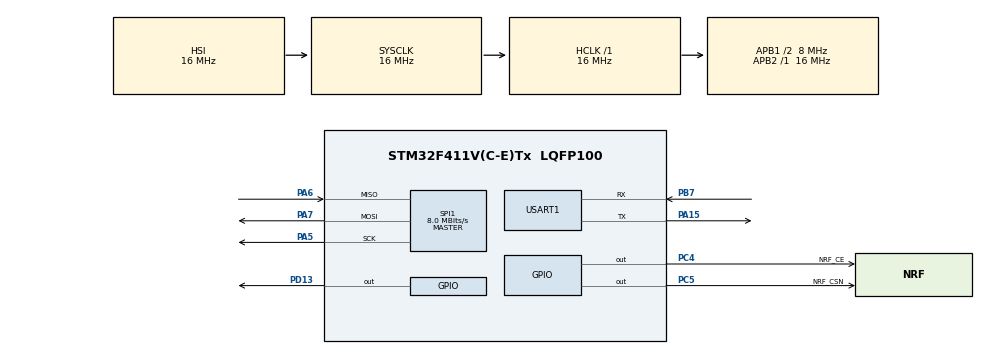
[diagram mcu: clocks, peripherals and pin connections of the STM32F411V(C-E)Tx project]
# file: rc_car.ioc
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Mcu.Family=STM32F4
Mcu.Name=STM32F411V(C-E)Tx
Mcu.Package=LQFP100
NVIC.PriorityGroup=NVIC_PRIORITYGROUP_0
PA13.Mode=Trace_Asynchronous_SW
PA13.Signal=SYS_JTMS-SWDIO
PA14.Mode=Trace_Asynchronous_SW
PA14.Signal=SYS_JTCK-SWCLK
PA15.Mode=Asynchronous
PA15.Signal=USART1_TX
PA5.Mode=Full_Duplex_Master
PA5.Signal=SPI1_SCK
PA6.Mode=Full_Duplex_Master
PA6.Signal=SPI1_MISO
PA7.Mode=Full_Duplex_Master
PA7.Signal=SPI1_MOSI
PB3.Mode=Trace_Asynchronous_SW
PB3.Signal=SYS_JTDO-SWO
PB7.Mode=Asynchronous
PB7.Signal=USART1_RX
PC4.GPIO_Label=NRF_CE
PC4.Signal=GPIO_Output
PC5.GPIO_Label=NRF_CSN
PC5.Signal=GPIO_Output
PD13.Signal=GPIO_Output
ProjectManager.HeapSize=0x200
ProjectManager.StackSize=0x400
ProjectManager.TargetToolchain=STM32CubeIDE
RCC.48MHZClocksFreq_Value=25000000
RCC.AHBFreq_Value=16000000
RCC.APB1CLKDivider=RCC_HCLK_DIV2
RCC.APB1Freq_Value=8000000
RCC.APB1TimFreq_Value=16000000
RCC.APB2Freq_Value=16000000
RCC.APB2TimFreq_Value=16000000
RCC.CortexFreq_Value=16000000
RCC.HCLKFreq_Value=16000000
RCC.HSE_VALUE=8000000
RCC.HSI_VALUE=16000000
RCC.LSE_VALUE=32768
RCC.PLLI2SM=5
RCC.PLLI2SN=200
RCC.PLLM=8
RCC.PLLN=100
RCC.PLLQ=8
RCC.SYSCLKFreq_VALUE=16000000
RCC.VCOOutputFreq_Value=200000000
SPI1.BaudRatePrescaler=SPI_BAUDRATEPRESCALER_2
SPI1.CalculateBaudRate=8.0 MBits/s
SPI1.Direction=SPI_DIRECTION_2LINES
SPI1.Mode=SPI_MODE_MASTER
SPI1.VirtualType=VM_MASTER
USART1.VirtualMode=VM_ASYNC
board=STM32F411E-DISCO

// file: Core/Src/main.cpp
/* USER CODE BEGIN Header */
/**
  ******************************************************************************
  * @file           : main.c
  * @brief          : Main program body
  ******************************************************************************
  * @attention
  *
  * Copyright (c) 2024 STMicroelectronics.
  * All rights reserved.
  *
  * This software is licensed under terms that can be found in the LICENSE file
  * in the root directory of this software component.
  * If no LICENSE file comes with this software, it is provided AS-IS.
  *
  ******************************************************************************
  */
/* USER CODE END Header */
#include "main.h"

/* USER CODE BEGIN Includes */
#include <memory>
#include <iostream>
#include <cstring>
#include "NRF24L01/NRF24L01.c"

/* USER CODE END Includes */

SPI_HandleTypeDef hspi1;

UART_HandleTypeDef huart1;

/* USER CODE BEGIN PV */
std::shared_ptr<bool> bool_var = std::make_shared<bool>(false);

struct PayloadStruct {
    unsigned long nodeID;
    unsigned long payloadID;
}
__attribute__((packed));
PayloadStruct payload;

/* USER CODE END PV */

void SystemClock_Config(void);

static void MX_GPIO_Init(void);

static void MX_SPI1_Init(void);

static void MX_USART1_UART_Init(void);

/* USER CODE BEGIN 0 */
void toggleLed() {
    if (*bool_var) {
        HAL_GPIO_WritePin(GPIOD, GPIO_PIN_13, GPIO_PIN_SET);
        *bool_var = false;
    } else {
        HAL_GPIO_WritePin(GPIOD, GPIO_PIN_13, GPIO_PIN_RESET);
        *bool_var = true;
    }
}

void nrf24Setup() {
    NRF24_Init();
    uint8_t nRF24_ADDR[] = {0xB3, 0xB4, 0xB5, 0xB6, 0x05};
}

void nrf24Run() {

    payload.nodeID = 1;
    payload.payloadID++;
    // Transmit a packet

}

/* USER CODE END 0 */

int main(void) {

    /* MCU Configuration--------------------------------------------------------*/

    /* Reset of all peripherals, Initializes the Flash interface and the Systick. */
    HAL_Init();

    /* Configure the system clock */
    SystemClock_Config();

    /* Initialize all configured peripherals */
    MX_GPIO_Init();
    MX_SPI1_Init();
    MX_USART1_UART_Init();
    /* USER CODE BEGIN 2 */

    nrf24Setup();

    /* USER CODE END 2 */

    /* Infinite loop */
    /* USER CODE BEGIN WHILE */
    while (1) {
        toggleLed();
        nrf24Run();
        /* USER CODE END WHILE */

        /* USER CODE BEGIN 3 */
        HAL_Delay(1000);
    }
    /* USER CODE END 3 */
}

void SystemClock_Config(void) {
    RCC_OscInitTypeDef RCC_OscInitStruct = {0};
    RCC_ClkInitTypeDef RCC_ClkInitStruct = {0};

    /** Configure the main internal regulator output voltage
    */
    __HAL_RCC_PWR_CLK_ENABLE();
    __HAL_PWR_VOLTAGESCALING_CONFIG(PWR_REGULATOR_VOLTAGE_SCALE1);

    /** Initializes the RCC Oscillators according to the specified parameters
    * in the RCC_OscInitTypeDef structure.
    */
    RCC_OscInitStruct.OscillatorType = RCC_OSCILLATORTYPE_HSI;
    RCC_OscInitStruct.HSIState = RCC_HSI_ON;
    RCC_OscInitStruct.HSICalibrationValue = RCC_HSICALIBRATION_DEFAULT;
    RCC_OscInitStruct.PLL.PLLState = RCC_PLL_NONE;
    if (HAL_RCC_OscConfig(&RCC_OscInitStruct) != HAL_OK) {
        Error_Handler();
    }

    /** Initializes the CPU, AHB and APB buses clocks
    */
    RCC_ClkInitStruct.ClockType = RCC_CLOCKTYPE_HCLK | RCC_CLOCKTYPE_SYSCLK
                                  | RCC_CLOCKTYPE_PCLK1 | RCC_CLOCKTYPE_PCLK2;
    RCC_ClkInitStruct.SYSCLKSource = RCC_SYSCLKSOURCE_HSI;
    RCC_ClkInitStruct.AHBCLKDivider = RCC_SYSCLK_DIV1;
    RCC_ClkInitStruct.APB1CLKDivider = RCC_HCLK_DIV2;
    RCC_ClkInitStruct.APB2CLKDivider = RCC_HCLK_DIV1;

    if (HAL_RCC_ClockConfig(&RCC_ClkInitStruct, FLASH_LATENCY_0) != HAL_OK) {
        Error_Handler();
    }
}

static void MX_SPI1_Init(void) {

    /* SPI1 parameter configuration*/
    hspi1.Instance = SPI1;
    hspi1.Init.Mode = SPI_MODE_MASTER;
    hspi1.Init.Direction = SPI_DIRECTION_2LINES;
    hspi1.Init.DataSize = SPI_DATASIZE_8BIT;
    hspi1.Init.CLKPolarity = SPI_POLARITY_LOW;
    hspi1.Init.CLKPhase = SPI_PHASE_1EDGE;
    hspi1.Init.NSS = SPI_NSS_SOFT;
    hspi1.Init.BaudRatePrescaler = SPI_BAUDRATEPRESCALER_4;
    hspi1.Init.FirstBit = SPI_FIRSTBIT_MSB;
    hspi1.Init.TIMode = SPI_TIMODE_DISABLE;
    hspi1.Init.CRCCalculation = SPI_CRCCALCULATION_DISABLE;
    hspi1.Init.CRCPolynomial = 10;
    if (HAL_SPI_Init(&hspi1) != HAL_OK) {
        Error_Handler();
    }

}

static void MX_USART1_UART_Init(void) {

    huart1.Instance = USART1;
    huart1.Init.BaudRate = 115200;
    huart1.Init.WordLength = UART_WORDLENGTH_8B;
    huart1.Init.StopBits = UART_STOPBITS_1;
    huart1.Init.Parity = UART_PARITY_NONE;
    huart1.Init.Mode = UART_MODE_TX_RX;
    huart1.Init.HwFlowCtl = UART_HWCONTROL_NONE;
    huart1.Init.OverSampling = UART_OVERSAMPLING_16;
    if (HAL_UART_Init(&huart1) != HAL_OK) {
        Error_Handler();
    }

}

static void MX_GPIO_Init(void) {
    GPIO_InitTypeDef GPIO_InitStruct = {0};

    /* GPIO Ports Clock Enable */
    __HAL_RCC_GPIOA_CLK_ENABLE();
    __HAL_RCC_GPIOC_CLK_ENABLE();
    __HAL_RCC_GPIOD_CLK_ENABLE();
    __HAL_RCC_GPIOB_CLK_ENABLE();

    /*Configure GPIO pin Output Level */
    HAL_GPIO_WritePin(GPIOC, NRF_CE_Pin | NRF_CSN_Pin, GPIO_PIN_RESET);

    /*Configure GPIO pin Output Level */
    HAL_GPIO_WritePin(GPIOD, GPIO_PIN_13, GPIO_PIN_RESET);

    /*Configure GPIO pins : NRF_CE_Pin NRF_CSN_Pin */
    GPIO_InitStruct.Pin = NRF_CE_Pin | NRF_CSN_Pin;
    GPIO_InitStruct.Mode = GPIO_MODE_OUTPUT_PP;
    GPIO_InitStruct.Pull = GPIO_NOPULL;
    GPIO_InitStruct.Speed = GPIO_SPEED_FREQ_LOW;
    HAL_GPIO_Init(GPIOC, &GPIO_InitStruct);

    /*Configure GPIO pin : PD13 */
    GPIO_InitStruct.Pin = GPIO_PIN_13;
    GPIO_InitStruct.Mode = GPIO_MODE_OUTPUT_PP;
    GPIO_InitStruct.Pull = GPIO_NOPULL;
    GPIO_InitStruct.Speed = GPIO_SPEED_FREQ_LOW;
    HAL_GPIO_Init(GPIOD, &GPIO_InitStruct);

}

void Error_Handler(void) {
    __disable_irq();
    while (1) {
    }
}
